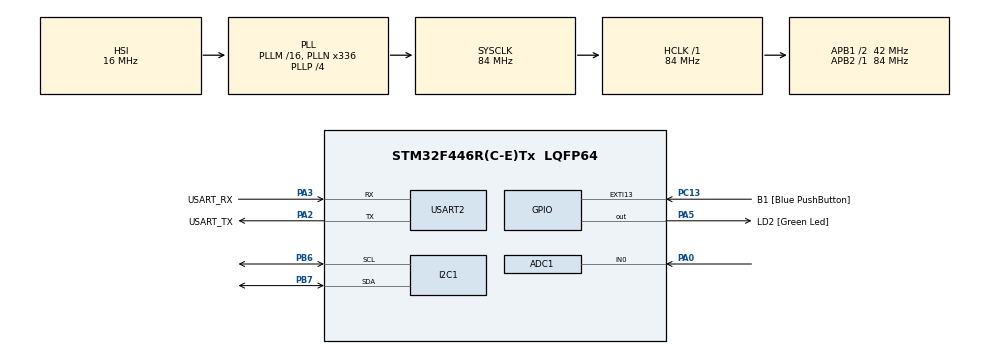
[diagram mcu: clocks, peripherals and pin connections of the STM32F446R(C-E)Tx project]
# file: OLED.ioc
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ADC1.Channel-0\#ChannelRegularConversion=ADC_CHANNEL_0
ADC1.NbrOfConversionFlag=1
ADC1.Rank-0\#ChannelRegularConversion=1
ADC1.SamplingTime-0\#ChannelRegularConversion=ADC_SAMPLETIME_3CYCLES
ADC1.master=1
FREERTOS.Tasks01=defaultTask,0,128,StartDefaultTask,Default,NULL,Dynamic,NULL,NULL;myTask02,0,128,StartTask02,Default,NULL,Dynamic,NULL,NULL;myTask03,0,128,StartTask03,Default,NULL,Dynamic,NULL,NULL
I2C1.I2C_Mode=I2C_Fast
Mcu.Family=STM32F4
Mcu.Name=STM32F446R(C-E)Tx
Mcu.Package=LQFP64
NVIC.PriorityGroup=NVIC_PRIORITYGROUP_4
NVIC.TIM6_DAC_IRQn=true\:15\:0\:false\:false\:true\:false\:false\:true\:true
NVIC.TimeBase=TIM6_DAC_IRQn
NVIC.TimeBaseIP=TIM6
PA0-WKUP.Signal=ADCx_IN0
PA13.GPIO_Label=TMS
PA13.Mode=Serial_Wire
PA13.Signal=SYS_JTMS-SWDIO
PA14.GPIO_Label=TCK
PA14.Mode=Serial_Wire
PA14.Signal=SYS_JTCK-SWCLK
PA2.GPIO_Label=USART_TX
PA2.Mode=Asynchronous
PA2.Signal=USART2_TX
PA3.GPIO_Label=USART_RX
PA3.Mode=Asynchronous
PA3.Signal=USART2_RX
PA5.GPIO_Label=LD2 [Green Led]
PA5.Signal=GPIO_Output
PB3.GPIO_Label=SWO
PB3.Signal=SYS_JTDO-SWO
PB6.Mode=I2C
PB6.Signal=I2C1_SCL
PB7.Mode=I2C
PB7.Signal=I2C1_SDA
PC13.GPIO_Label=B1 [Blue PushButton]
PC13.GPIO_ModeDefaultEXTI=GPIO_MODE_IT_FALLING
PC13.Signal=GPXTI13
PC14-OSC32_IN.Mode=LSE-External-Oscillator
PC14-OSC32_IN.Signal=RCC_OSC32_IN
PC15-OSC32_OUT.Mode=LSE-External-Oscillator
PC15-OSC32_OUT.Signal=RCC_OSC32_OUT
PH0-OSC_IN.Mode=HSE-External-Oscillator
PH0-OSC_IN.Signal=RCC_OSC_IN
PH1-OSC_OUT.Mode=HSE-External-Oscillator
PH1-OSC_OUT.Signal=RCC_OSC_OUT
ProjectManager.HeapSize=0x200
ProjectManager.StackSize=0x400
ProjectManager.TargetToolchain=STM32CubeIDE
RCC.48MHZClocksFreq_Value=84000000
RCC.AHBFreq_Value=84000000
RCC.APB1CLKDivider=RCC_HCLK_DIV2
RCC.APB1Freq_Value=42000000
RCC.APB1TimFreq_Value=84000000
RCC.APB2Freq_Value=84000000
RCC.APB2TimFreq_Value=84000000
RCC.CortexFreq_Value=84000000
RCC.FLatency-AdvancedSettings=FLASH_LATENCY_2
RCC.HCLKFreq_Value=84000000
RCC.HSE_VALUE=8000000
RCC.HSI_VALUE=16000000
RCC.PLLN=336
RCC.PLLP=RCC_PLLP_DIV4
RCC.SYSCLKFreq_VALUE=84000000
RCC.SYSCLKSource=RCC_SYSCLKSOURCE_PLLCLK
RCC.USBFreq_Value=168000000
RCC.VCOOutputFreq_Value=336000000
SH.ADCx_IN0.0=ADC1_IN0,IN0
USART2.VirtualMode=VM_ASYNC
VP_FREERTOS_VS_CMSIS_V1.Mode=CMSIS_V1
VP_SYS_VS_tim6.Mode=TIM6
board=NUCLEO-F446RE

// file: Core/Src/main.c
/* USER CODE BEGIN Header */
/**
  ******************************************************************************
  * @file           : main.c
  * @brief          : Main program body
  ******************************************************************************
  * @attention
  *
  * Copyright (c) 2024 STMicroelectronics.
  * All rights reserved.
  *
  * This software is licensed under terms that can be found in the LICENSE file
  * in the root directory of this software component.
  * If no LICENSE file comes with this software, it is provided AS-IS.
  *
  ******************************************************************************
  */
/* USER CODE END Header */
#include "main.h"

/* USER CODE BEGIN Includes */
#include "fonts.h"
#include "ssd1306.h"
#include "stdio.h"
#include "string.h"

/* USER CODE END Includes */

ADC_HandleTypeDef hadc1;

I2C_HandleTypeDef hi2c1;

UART_HandleTypeDef huart2;

void SystemClock_Config(void);
static void MX_GPIO_Init(void);
static void MX_USART2_UART_Init(void);
static void MX_I2C1_Init(void);
static void MX_ADC1_Init(void);

/* USER CODE BEGIN 0 */

uint32_t sensorValue = 0;
float fvoltage = 0;

int uart2_write(int ch)
{
	/*Make sure the transmit data register is empty*/
	while(!(USART2->SR & USART_SR_TXE)){}

	 /*Write to transmit data register*/
	USART2->DR	=  (ch & 0xFF);
	return ch;
}

int __io_putchar(int ch)
{
	uart2_write(ch);
	return ch;
}

void introTask(void *argument) {
  SSD1306_GotoXY (0,0);
  SSD1306_Puts ("Team", &Font_11x18, 1);
  SSD1306_GotoXY (0, 30);
  SSD1306_Puts ("5", &Font_11x18, 1);
  SSD1306_UpdateScreen();
}

void potentiometerTask(void *argument) {
  char msg[100];
  uint32_t sensorValue = 0;
  float fvoltage = 0;
  HAL_ADC_Start(&hadc1);
  HAL_ADC_PollForConversion(&hadc1,1);

  for(;;) {
    sensorValue = HAL_ADC_GetValue(&hadc1);
    fvoltage = (float)sensorValue * (3.3/4095.0);
    sprintf(msg, "%f", fvoltage);
    HAL_UART_Transmit(&huart2, (uint8_t*)msg, strlen(msg), HAL_MAX_DELAY);
    SSD1306_GotoXY (0,0);
    SSD1306_Puts (msg, &Font_11x18, 1);
    SSD1306_UpdateScreen();
  }
}

/* USER CODE END 0 */

int main(void)
{

  /* MCU Configuration--------------------------------------------------------*/

  /* Reset of all peripherals, Initializes the Flash interface and the Systick. */
  HAL_Init();

  /* Configure the system clock */
  SystemClock_Config();

  /* Initialize all configured peripherals */
  MX_GPIO_Init();
  MX_USART2_UART_Init();
  MX_I2C1_Init();
  MX_ADC1_Init();
  /* USER CODE BEGIN 2 */
  HAL_ADC_Start(&hadc1);
  SSD1306_Init();

  SSD1306_GotoXY (0,0);
  SSD1306_Puts ("Team", &Font_11x18, 1);
  SSD1306_GotoXY (0, 30);
  SSD1306_Puts ("5", &Font_11x18, 1);
  SSD1306_UpdateScreen();
  HAL_Delay (1000);
  SSD1306_Clear();

  // Create introTask
  xTaskCreate(introTask, "Intro Task reading potentiometer", 128, NULL, 2, NULL);

  // Create potentiometerTask
  xTaskCreate(potentiometerTask, "Potentiometer Task", 128, NULL, 2, NULL);

  // Start the scheduler
  vTaskStartScheduler();

  /* USER CODE END 2 */

  /* Infinite loop */
  /* USER CODE BEGIN WHILE */
//  while (1)
//  {
//
//		 /*1. Start ADC */
//		 HAL_ADC_Start(&hadc1);
//
//		 /*2. Poll for conversion */
//		 HAL_ADC_PollForConversion(&hadc1,1);
//
//		 /*3. Get conversion */
//		 sensorValue = HAL_ADC_GetValue(&hadc1);
//
//		 fvoltage = (float)sensorValue * (3.3/4095.0);
//		 sprintf(msg, "%f", fvoltage);
//
//		 HAL_UART_Transmit(&huart2, (uint8_t*)msg, strlen(msg), HAL_MAX_DELAY);
//		 SSD1306_GotoXY (0,0);
//		 SSD1306_Puts (msg, &Font_11x18, 1);
//		 SSD1306_UpdateScreen();
////
    /* USER CODE END WHILE */

  }

void SystemClock_Config(void)
{
  RCC_OscInitTypeDef RCC_OscInitStruct = {0};
  RCC_ClkInitTypeDef RCC_ClkInitStruct = {0};

  /** Configure the main internal regulator output voltage
  */
  __HAL_RCC_PWR_CLK_ENABLE();
  __HAL_PWR_VOLTAGESCALING_CONFIG(PWR_REGULATOR_VOLTAGE_SCALE3);

  /** Initializes the RCC Oscillators according to the specified parameters
  * in the RCC_OscInitTypeDef structure.
  */
  RCC_OscInitStruct.OscillatorType = RCC_OSCILLATORTYPE_HSI;
  RCC_OscInitStruct.HSIState = RCC_HSI_ON;
  RCC_OscInitStruct.HSICalibrationValue = RCC_HSICALIBRATION_DEFAULT;
  RCC_OscInitStruct.PLL.PLLState = RCC_PLL_ON;
  RCC_OscInitStruct.PLL.PLLSource = RCC_PLLSOURCE_HSI;
  RCC_OscInitStruct.PLL.PLLM = 16;
  RCC_OscInitStruct.PLL.PLLN = 336;
  RCC_OscInitStruct.PLL.PLLP = RCC_PLLP_DIV4;
  RCC_OscInitStruct.PLL.PLLQ = 2;
  RCC_OscInitStruct.PLL.PLLR = 2;
  if (HAL_RCC_OscConfig(&RCC_OscInitStruct) != HAL_OK)
  {
    Error_Handler();
  }

  /** Initializes the CPU, AHB and APB buses clocks
  */
  RCC_ClkInitStruct.ClockType = RCC_CLOCKTYPE_HCLK|RCC_CLOCKTYPE_SYSCLK
                              |RCC_CLOCKTYPE_PCLK1|RCC_CLOCKTYPE_PCLK2;
  RCC_ClkInitStruct.SYSCLKSource = RCC_SYSCLKSOURCE_PLLCLK;
  RCC_ClkInitStruct.AHBCLKDivider = RCC_SYSCLK_DIV1;
  RCC_ClkInitStruct.APB1CLKDivider = RCC_HCLK_DIV2;
  RCC_ClkInitStruct.APB2CLKDivider = RCC_HCLK_DIV1;

  if (HAL_RCC_ClockConfig(&RCC_ClkInitStruct, FLASH_LATENCY_2) != HAL_OK)
  {
    Error_Handler();
  }
}

static void MX_ADC1_Init(void)
{

  ADC_ChannelConfTypeDef sConfig = {0};

  /** Configure the global features of the ADC (Clock, Resolution, Data Alignment and number of conversion)
  */
  hadc1.Instance = ADC1;
  hadc1.Init.ClockPrescaler = ADC_CLOCK_SYNC_PCLK_DIV4;
  hadc1.Init.Resolution = ADC_RESOLUTION_12B;
  hadc1.Init.ScanConvMode = DISABLE;
  hadc1.Init.ContinuousConvMode = DISABLE;
  hadc1.Init.DiscontinuousConvMode = DISABLE;
  hadc1.Init.ExternalTrigConvEdge = ADC_EXTERNALTRIGCONVEDGE_NONE;
  hadc1.Init.ExternalTrigConv = ADC_SOFTWARE_START;
  hadc1.Init.DataAlign = ADC_DATAALIGN_RIGHT;
  hadc1.Init.NbrOfConversion = 1;
  hadc1.Init.DMAContinuousRequests = DISABLE;
  hadc1.Init.EOCSelection = ADC_EOC_SINGLE_CONV;
  if (HAL_ADC_Init(&hadc1) != HAL_OK)
  {
    Error_Handler();
  }

  /** Configure for the selected ADC regular channel its corresponding rank in the sequencer and its sample time.
  */
  sConfig.Channel = ADC_CHANNEL_0;
  sConfig.Rank = 1;
  sConfig.SamplingTime = ADC_SAMPLETIME_3CYCLES;
  if (HAL_ADC_ConfigChannel(&hadc1, &sConfig) != HAL_OK)
  {
    Error_Handler();
  }

}

static void MX_I2C1_Init(void)
{

  hi2c1.Instance = I2C1;
  hi2c1.Init.ClockSpeed = 400000;
  hi2c1.Init.DutyCycle = I2C_DUTYCYCLE_2;
  hi2c1.Init.OwnAddress1 = 0;
  hi2c1.Init.AddressingMode = I2C_ADDRESSINGMODE_7BIT;
  hi2c1.Init.DualAddressMode = I2C_DUALADDRESS_DISABLE;
  hi2c1.Init.OwnAddress2 = 0;
  hi2c1.Init.GeneralCallMode = I2C_GENERALCALL_DISABLE;
  hi2c1.Init.NoStretchMode = I2C_NOSTRETCH_DISABLE;
  if (HAL_I2C_Init(&hi2c1) != HAL_OK)
  {
    Error_Handler();
  }

}

static void MX_USART2_UART_Init(void)
{

  huart2.Instance = USART2;
  huart2.Init.BaudRate = 115200;
  huart2.Init.WordLength = UART_WORDLENGTH_8B;
  huart2.Init.StopBits = UART_STOPBITS_1;
  huart2.Init.Parity = UART_PARITY_NONE;
  huart2.Init.Mode = UART_MODE_TX_RX;
  huart2.Init.HwFlowCtl = UART_HWCONTROL_NONE;
  huart2.Init.OverSampling = UART_OVERSAMPLING_16;
  if (HAL_UART_Init(&huart2) != HAL_OK)
  {
    Error_Handler();
  }

}

static void MX_GPIO_Init(void)
{
  GPIO_InitTypeDef GPIO_InitStruct = {0};

  /* GPIO Ports Clock Enable */
  __HAL_RCC_GPIOC_CLK_ENABLE();
  __HAL_RCC_GPIOH_CLK_ENABLE();
  __HAL_RCC_GPIOA_CLK_ENABLE();
  __HAL_RCC_GPIOB_CLK_ENABLE();

  /*Configure GPIO pin Output Level */
  HAL_GPIO_WritePin(LD2_GPIO_Port, LD2_Pin, GPIO_PIN_RESET);

  /*Configure GPIO pin : B1_Pin */
  GPIO_InitStruct.Pin = B1_Pin;
  GPIO_InitStruct.Mode = GPIO_MODE_IT_FALLING;
  GPIO_InitStruct.Pull = GPIO_NOPULL;
  HAL_GPIO_Init(B1_GPIO_Port, &GPIO_InitStruct);

  /*Configure GPIO pin : LD2_Pin */
  GPIO_InitStruct.Pin = LD2_Pin;
  GPIO_InitStruct.Mode = GPIO_MODE_OUTPUT_PP;
  GPIO_InitStruct.Pull = GPIO_NOPULL;
  GPIO_InitStruct.Speed = GPIO_SPEED_FREQ_LOW;
  HAL_GPIO_Init(LD2_GPIO_Port, &GPIO_InitStruct);

}

void HAL_TIM_PeriodElapsedCallback(TIM_HandleTypeDef *htim)
{
  if (htim->Instance == TIM6) {
    HAL_IncTick();
  }
}

void Error_Handler(void)
{
  __disable_irq();
  while (1)
  {
  }
}
